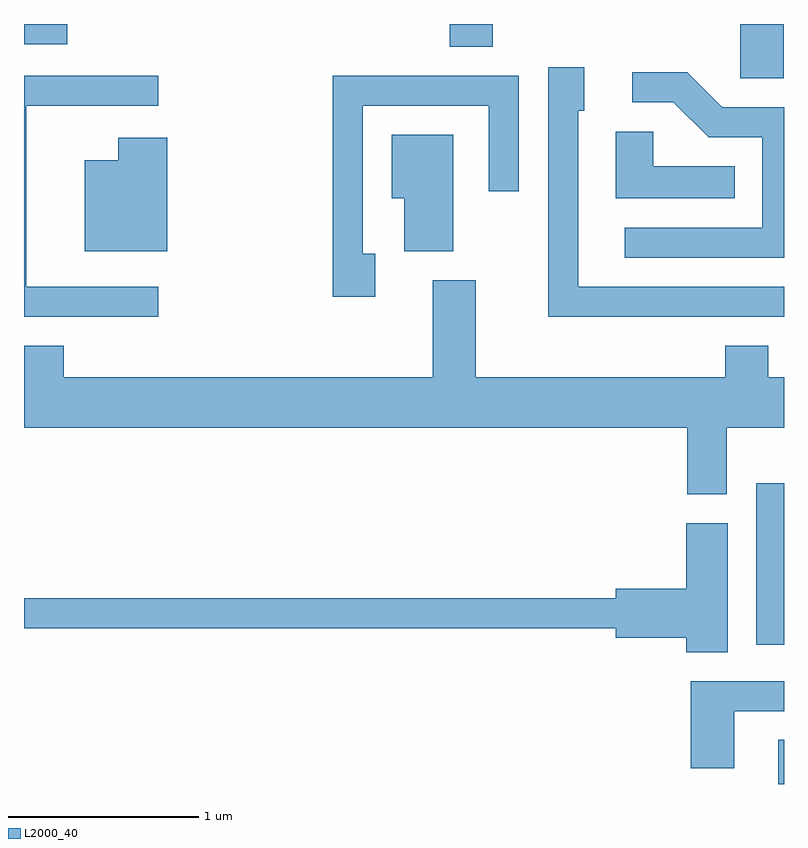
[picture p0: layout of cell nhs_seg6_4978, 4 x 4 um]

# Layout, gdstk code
import gdstk
lib = gdstk.Library(unit=1e-6, precision=1e-09)
def R(c, l, rs):  # rectangles x0, y0, x1, y1
    for r in rs: c.add(gdstk.rectangle(r[:2], r[2:], *l))
def P(c, l, *ps):  # polygons
    for p in ps: c.add(gdstk.Polygon(p, *l))
L2000_40 = (2000, 40)

nhs_seg6_4978 = lib.new_cell('nhs_seg6_4978')
R(nhs_seg6_4978, L2000_40, [(341.581,1548.162,341.611,1548.394), (341.466,1548.896,341.611,1549.744), (341.381,1551.876,341.609,1552.162), (339.851,1552.041,340.079,1552.162), (337.611,1552.056,337.839,1552.162)])
P(nhs_seg6_4978, L2000_40, [(341.611,1550.779),(340.529,1550.779),(340.529,1551.706),(340.559,1551.706),(340.559,1551.934),(340.371,1551.934),(340.371,1550.621),(341.611,1550.621)],
  [(341.611,1551.724),(341.287,1551.724),(341.102,1551.909),(340.813,1551.909),(340.813,1551.751),(341.029,1551.751),(341.214,1551.566),(341.496,1551.566),(341.496,1551.089),(340.773,1551.089),(340.773,1550.931),(341.611,1550.931)],
  [(339.459,1550.954),(339.394,1550.954),(339.394,1551.731),(340.056,1551.731),(340.056,1551.283),(340.214,1551.283),(340.214,1551.889),(339.236,1551.889),(339.236,1550.726),(339.459,1550.726)],
  [(338.318,1550.779),(337.624,1550.779),(337.624,1551.731),(338.318,1551.731),(338.318,1551.889),(337.611,1551.889),(337.611,1550.621),(338.318,1550.621)],
  [(341.353,1551.414),(340.924,1551.414),(340.924,1551.594),(340.726,1551.594),(340.726,1551.246),(341.353,1551.246)],
  [(339.869,1551.579),(339.546,1551.579),(339.546,1551.246),(339.611,1551.246),(339.611,1550.966),(339.869,1550.966)],
  [(338.364,1551.564),(338.106,1551.564),(338.106,1551.444),(337.931,1551.444),(337.931,1550.966),(338.364,1550.966)],
  [(341.309,1550.036),(341.611,1550.036),(341.611,1550.304),(341.529,1550.304),(341.529,1550.469),(341.301,1550.469),(341.301,1550.304),(339.989,1550.304),(339.989,1550.814),(339.761,1550.814),(339.761,1550.304),(337.819,1550.304),(337.819,1550.469),(337.611,1550.469),(337.611,1550.036),(341.101,1550.036),(341.101,1549.686),(341.309,1549.686)],
  [(341.314,1549.534),(341.096,1549.534),(341.096,1549.189),(340.726,1549.189),(340.726,1549.139),(337.611,1549.139),(337.611,1548.981),(340.726,1548.981),(340.726,1548.931),(341.096,1548.931),(341.096,1548.856),(341.314,1548.856)],
  [(341.349,1548.546),(341.611,1548.546),(341.611,1548.704),(341.121,1548.704),(341.121,1548.246),(341.349,1548.246)])

lib.write_gds('nhs_seg6_4978.gds')
